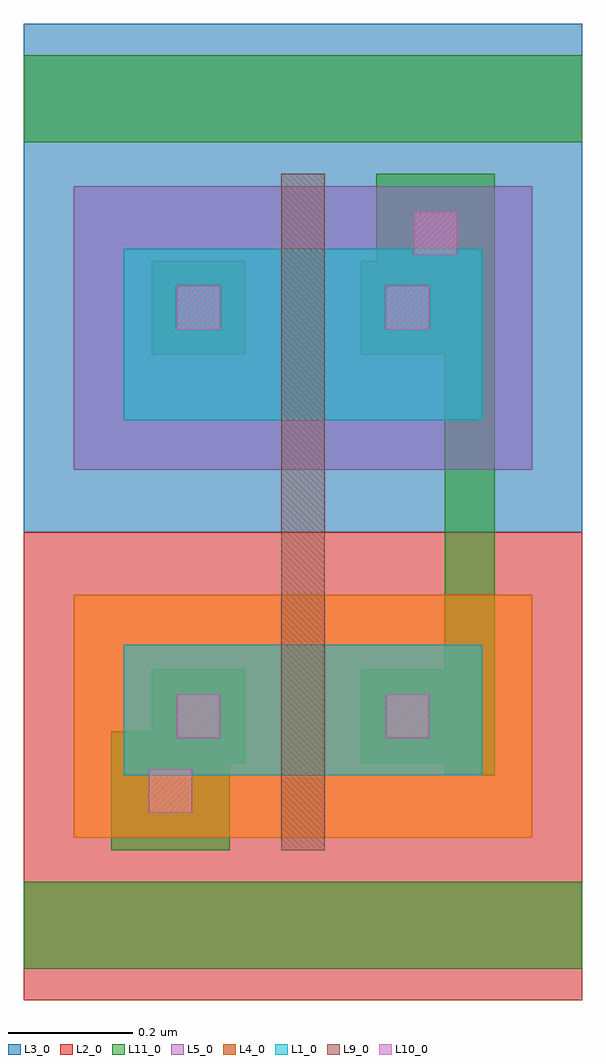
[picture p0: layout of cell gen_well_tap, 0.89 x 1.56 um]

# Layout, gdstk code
import gdstk
lib = gdstk.Library(unit=1e-6, precision=5e-10)
def R(c, l, rs):  # rectangles x0, y0, x1, y1
    for r in rs: c.add(gdstk.rectangle(r[:2], r[2:], *l))
L1_0 = (1, 0)
L2_0 = (2, 0)
L3_0 = (3, 0)
L4_0 = (4, 0)
L5_0 = (5, 0)
L9_0 = (9, 0)
L10_0 = (10, 0)
L11_0 = (11, 0)

gen_well_tap = lib.new_cell('gen_well_tap')
R(gen_well_tap, L1_0, [(0.16,0.36,0.735,0.57), (0.16,0.93,0.735,1.205)])
R(gen_well_tap, L2_0, [(0,0,0.895,0.75)])
R(gen_well_tap, L3_0, [(0,0.75,0.895,1.565)])
R(gen_well_tap, L4_0, [(0.08,0.26,0.815,0.65)])
R(gen_well_tap, L5_0, [(0.08,0.85,0.815,1.305)])
R(gen_well_tap, L9_0, [(0.4125,0.24,0.4825,1.325)])
R(gen_well_tap, L10_0, [(0.2,0.3,0.27,0.37), (0.245,0.42,0.315,0.49), (0.58,0.42,0.65,0.49), (0.245,1.075,0.315,1.145), (0.58,1.075,0.65,1.145), (0.625,1.195,0.695,1.265)])
R(gen_well_tap, L11_0, [(0,0.05,0.895,0.19), (0.3975,0.07,0.4975,0.17), (0.14,0.24,0.33,0.43), (0.675,0.36,0.755,1.205), (0.205,0.38,0.355,0.53), (0.54,0.38,0.69,0.53), (0.205,1.035,0.355,1.185), (0.54,1.035,0.69,1.185), (0.565,1.135,0.755,1.325), (0,1.375,0.895,1.515), (0.3975,1.395,0.4975,1.495)])

lib.write_gds('gen_well_tap.gds')
